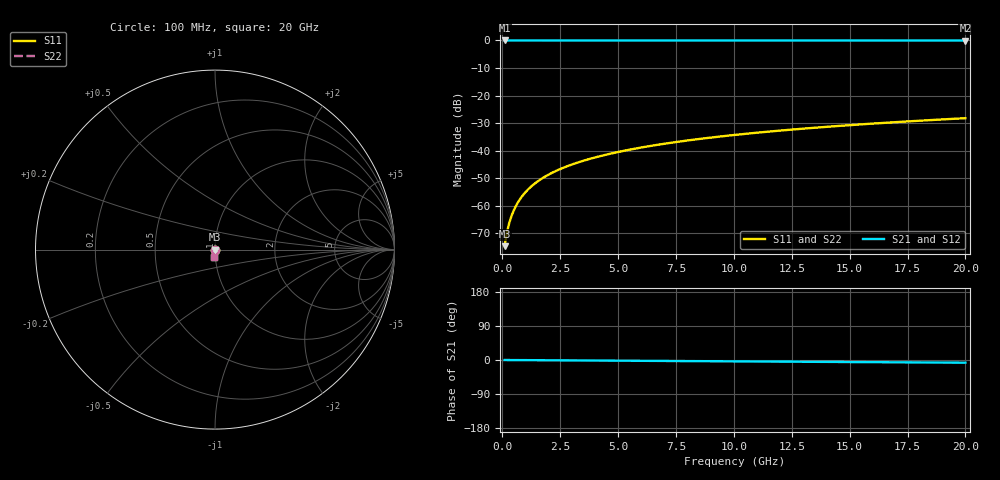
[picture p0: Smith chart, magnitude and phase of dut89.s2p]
! Touchstone file exported from HFSS 2026.1.0
!  File:  C:/ffzhzh/LocalFiles/Ansys_Project_Files/temp_train_TSV_89_1782959651_6388.aedt
!  Generated:  10:35:26 AM Jul  2, 2026
!  Design:  TSV
!  Project:  temp_train_TSV_89_1782959651_6388
! Variables:
!  h_bsmrdl = 2um
!  h_ox = 20um
!  h_rdl = 5um
!  h_sub = 69.98um
!  h_tmrdl = 5um
!  h_tsv = 69.98um
!  h_via = 3um
!  l_bsmrdl = 300um
!  l_sub = 422.28um
!  l_tmrdl = 200um
!  m_sub = 200um
!  pitch = 33.72um
!  r_tsv = 11.14um
!  s_tmrdl = 10um
!  w_bsmrdl = 18um
!  w_sub = 500um
!  w_tmrdl = 12um
!  x_tsv_center1 = 206um
!  x_tsv_center2 = 524um
!  x_tsv_center3 = 736um
!  x_tsv_center4 = 1054um
!  x_tsv_center5 = 1266um
!  x_tsv_center6 = 1584um
# GHz S MA R 50.000000
! Terminal data exported
! Port[1] = TSV1_1_T1
! Port[2] = TSV1_1_T2
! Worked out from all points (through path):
!   200 points, 100 MHz to 20 GHz, reference 50 ohm
!   highest |S21| = 0.00 dB at 100 MHz (marker M1); lowest = 0.0 dB at 20 GHz (marker M2)
!   lowest |S11| = -74.7 dB at 100 MHz (marker M3), VSWR 1.00, Z = 50 - j0.015 ohm
!   |S11| at or under -10 dB: start of sweep to end of sweep
!   |S22| runs from -74.7 to -28.2 dB; largest |S21 - S12| = 3.1e-15
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0.1  0.0001833 -55.1  0.9999 -0.0  0.9999 -0.0  0.0001833 -55.1
! Gamma 0 0 0 0
! Port Impedance 50 0 50 0
0.2  0.0003265 -68.8  0.9999 -0.1  0.9999 -0.1  0.0003265 -68.8
0.3  0.0004844 -73.5  0.9999 -0.1  0.9999 -0.1  0.0004844 -73.5
0.4  0.0006515 -75.8  0.9998 -0.2  0.9998 -0.2  0.0006515 -75.8
0.5  0.0008257 -77.1  0.9998 -0.2  0.9998 -0.2  0.0008257 -77.1
0.7  0.001189 -79.0  0.9998 -0.3  0.9998 -0.3  0.001189 -79.0
0.8  0.001375 -79.7  0.9997 -0.3  0.9997 -0.3  0.001375 -79.7
1  0.001753 -81.0  0.9997 -0.4  0.9997 -0.4  0.001753 -81.0
1.2  0.002133 -82.0  0.9997 -0.4  0.9997 -0.4  0.002133 -82.0
1.4  0.002515 -82.9  0.9997 -0.5  0.9997 -0.5  0.002515 -82.9
1.7  0.003087 -83.9  0.9996 -0.6  0.9996 -0.6  0.003087 -83.9
2  0.003659 -84.7  0.9996 -0.7  0.9996 -0.7  0.003659 -84.7
2.7  0.004994 -86.0  0.9995 -1.0  0.9995 -1.0  0.004994 -86.0
3.5  0.006525 -86.9  0.9995 -1.3  0.9995 -1.3  0.006525 -86.9
4.2  0.007871 -87.6  0.9994 -1.5  0.9994 -1.5  0.007871 -87.6
5  0.009415 -88.2  0.9994 -1.8  0.9994 -1.8  0.009415 -88.2
6.8  0.01291 -89.4  0.9992 -2.4  0.9992 -2.4  0.01291 -89.4
8.3  0.01583 -90.2  0.9991 -3.0  0.9991 -3.0  0.01583 -90.2
10.1  0.01935 -91.1  0.999 -3.6  0.999 -3.6  0.01935 -91.1
13.4  0.02581 -92.6  0.9987 -4.8  0.9987 -4.8  0.02581 -92.6
16.7  0.03226 -94.0  0.9984 -6.0  0.9984 -6.0  0.03226 -94.0
20  0.03873 -95.3  0.998 -7.1  0.998 -7.1  0.03873 -95.3
